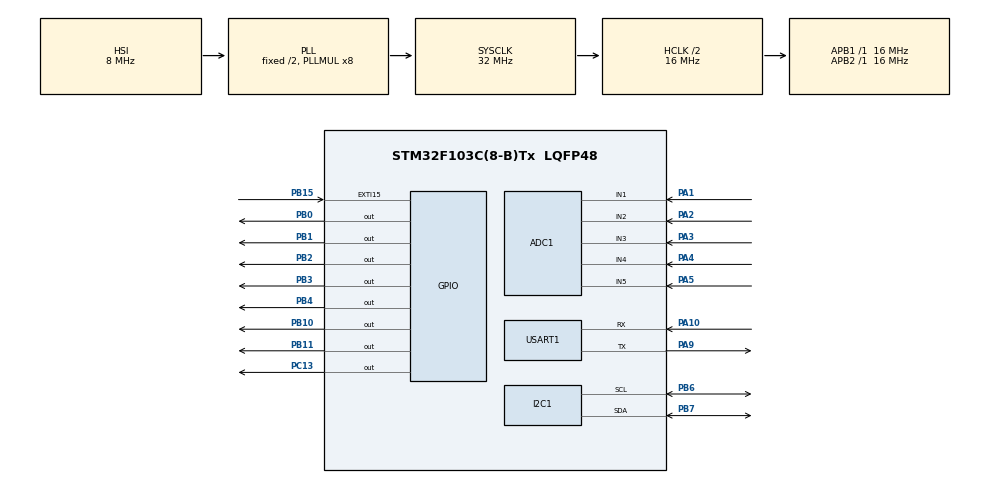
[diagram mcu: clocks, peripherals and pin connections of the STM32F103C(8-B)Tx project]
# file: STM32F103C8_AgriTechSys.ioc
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ADC1.Channel-0\#ChannelRegularConversion=ADC_CHANNEL_2
ADC1.NbrOfConversionFlag=1
ADC1.Rank-0\#ChannelRegularConversion=1
ADC1.SamplingTime-0\#ChannelRegularConversion=ADC_SAMPLETIME_1CYCLE_5
ADC1.master=1
Mcu.Family=STM32F1
Mcu.Name=STM32F103C(8-B)Tx
Mcu.Package=LQFP48
NVIC.EXTI15_10_IRQn=true\:0\:0\:false\:false\:true\:true\:true
NVIC.PriorityGroup=NVIC_PRIORITYGROUP_4
NVIC.TIM1_UP_IRQn=true\:0\:0\:false\:false\:true\:true\:true
NVIC.USART1_IRQn=true\:0\:0\:false\:false\:true\:true\:true
PA1.Signal=ADCx_IN1
PA10.Mode=Asynchronous
PA10.Signal=USART1_RX
PA2.Signal=ADCx_IN2
PA3.Signal=ADCx_IN3
PA4.Signal=ADCx_IN4
PA5.Signal=ADCx_IN5
PA9.Mode=Asynchronous
PA9.Signal=USART1_TX
PB0.Signal=GPIO_Output
PB1.Signal=GPIO_Output
PB10.Signal=GPIO_Output
PB11.Signal=GPIO_Output
PB15.GPIO_PuPd=GPIO_PULLUP
PB15.Signal=GPXTI15
PB2.Signal=GPIO_Output
PB3.Signal=GPIO_Output
PB4.Signal=GPIO_Output
PB6.Mode=I2C
PB6.Signal=I2C1_SCL
PB7.Mode=I2C
PB7.Signal=I2C1_SDA
PC13-TAMPER-RTC.Signal=GPIO_Output
PD0-OSC_IN.Mode=HSE-External-Oscillator
PD0-OSC_IN.Signal=RCC_OSC_IN
PD1-OSC_OUT.Mode=HSE-External-Oscillator
PD1-OSC_OUT.Signal=RCC_OSC_OUT
ProjectManager.HeapSize=0x200
ProjectManager.StackSize=0x400
ProjectManager.TargetToolchain=STM32CubeIDE
RCC.AHBCLKDivider=RCC_SYSCLK_DIV2
RCC.AHBFreq_Value=16000000
RCC.APB1Freq_Value=16000000
RCC.APB1TimFreq_Value=16000000
RCC.APB2Freq_Value=16000000
RCC.APB2TimFreq_Value=16000000
RCC.HCLKFreq_Value=16000000
RCC.PLLMUL=RCC_PLL_MUL8
RCC.SYSCLKFreq_VALUE=32000000
RCC.SYSCLKSource=RCC_SYSCLKSOURCE_PLLCLK
RCC.USBFreq_Value=32000000
SH.ADCx_IN1.0=ADC1_IN1,IN1
SH.ADCx_IN2.0=ADC1_IN2,IN2
SH.ADCx_IN3.0=ADC1_IN3,IN3
SH.ADCx_IN4.0=ADC1_IN4,IN4
SH.ADCx_IN5.0=ADC1_IN5,IN5
TIM1.AutoReloadPreload=TIM_AUTORELOAD_PRELOAD_ENABLE
TIM1.Period=8000
TIM1.Prescaler=4
USART1.VirtualMode=VM_ASYNC
VP_SYS_VS_ND.Mode=No_Debug
VP_TIM1_VS_ClockSourceINT.Mode=Internal
board=custom

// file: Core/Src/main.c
/* USER CODE BEGIN Header */
/**
  ******************************************************************************
  * @file           : main.c
  * @brief          : Main program body
  ******************************************************************************
  * @attention
  *
  * <h2><center>&copy; Copyright (c) 2024 STMicroelectronics.
  * All rights reserved.</center></h2>
  *
  * This software component is licensed by ST under BSD 3-Clause license,
  * the "License"; You may not use this file except in compliance with the
  * License. You may obtain a copy of the License at:
  *                        opensource.org/licenses/BSD-3-Clause
  *
  ******************************************************************************
  */
/* USER CODE END Header */

#include "main.h"
#include "adc.h"
#include "i2c.h"
#include "tim.h"
#include "usart.h"
#include "gpio.h"

/* USER CODE BEGIN Includes */
#include "AgriTechSys.h"
/* USER CODE END Includes */

/* USER CODE BEGIN PV */
volatile uint8_t tickFlage;
volatile RunTimeINstanceType runTimeInstance = {0};
/* USER CODE END PV */

void SystemClock_Config(void);

int main(void)
{

  /* MCU Configuration--------------------------------------------------------*/

  /* Reset of all peripherals, Initializes the Flash interface and the Systick. */
  HAL_Init();

  /* Configure the system clock */
  SystemClock_Config();

  /* Initialize all configured peripherals */
  MX_GPIO_Init();
  MX_TIM1_Init();
  MX_ADC1_Init();
  MX_I2C1_Init();
  MX_USART1_UART_Init();

  /* Infinite loop */
  /* USER CODE BEGIN WHILE */
  while (1)
  {
	  switch(runTimeInstance.CurrState)
	  {
	  case IDEAL_STATE:
	  {
		  if(TRUE == runTimeInstance.startEvent)
		  {
			  /* Start Event is found */
			  HAL_TIM_Base_Start(&htim1);
			  /* set state to run mode */
			  runTimeInstance.CurrState = RUN_STATE;
		  }
	  }
		  break;
	  case RUN_STATE:
	  {
		  /* call diff task using funPtr */
		  if(TRUE == tickFlage)
		  {
			  HAL_GPIO_TogglePin(GPIOC, GPIO_PIN_13);
			  tickFlage = FALSE;
		  }

		  if(FALSE == runTimeInstance.startEvent)
		  {
			  /* Start Event is found */
			  HAL_TIM_Base_Stop_IT(&htim1);
			  /* set state to run mode */
			  runTimeInstance.CurrState = STOP_STATE;
		  }
	  }
		  break;
	  case STOP_STATE:
	  {
		  /* Reset runtime instance */
//		  runTimeInstance = {0};
		  HAL_GPIO_WritePin(GPIOC, GPIO_PIN_13, GPIO_PIN_SET);
		  /* set state to run mode */
		  runTimeInstance.CurrState = IDEAL_STATE;

	  }
		  break;
	  default:
		  break;
	  }
    /* USER CODE END WHILE */

  }
}

void SystemClock_Config(void)
{
  RCC_OscInitTypeDef RCC_OscInitStruct = {0};
  RCC_ClkInitTypeDef RCC_ClkInitStruct = {0};
  RCC_PeriphCLKInitTypeDef PeriphClkInit = {0};

  /** Initializes the CPU, AHB and APB busses clocks
  */
  RCC_OscInitStruct.OscillatorType = RCC_OSCILLATORTYPE_HSI;
  RCC_OscInitStruct.HSIState = RCC_HSI_ON;
  RCC_OscInitStruct.HSICalibrationValue = RCC_HSICALIBRATION_DEFAULT;
  RCC_OscInitStruct.PLL.PLLState = RCC_PLL_ON;
  RCC_OscInitStruct.PLL.PLLSource = RCC_PLLSOURCE_HSI_DIV2;
  RCC_OscInitStruct.PLL.PLLMUL = RCC_PLL_MUL8;
  if (HAL_RCC_OscConfig(&RCC_OscInitStruct) != HAL_OK)
  {
    Error_Handler();
  }
  /** Initializes the CPU, AHB and APB busses clocks
  */
  RCC_ClkInitStruct.ClockType = RCC_CLOCKTYPE_HCLK|RCC_CLOCKTYPE_SYSCLK
                              |RCC_CLOCKTYPE_PCLK1|RCC_CLOCKTYPE_PCLK2;
  RCC_ClkInitStruct.SYSCLKSource = RCC_SYSCLKSOURCE_PLLCLK;
  RCC_ClkInitStruct.AHBCLKDivider = RCC_SYSCLK_DIV2;
  RCC_ClkInitStruct.APB1CLKDivider = RCC_HCLK_DIV1;
  RCC_ClkInitStruct.APB2CLKDivider = RCC_HCLK_DIV1;

  if (HAL_RCC_ClockConfig(&RCC_ClkInitStruct, FLASH_LATENCY_1) != HAL_OK)
  {
    Error_Handler();
  }
  PeriphClkInit.PeriphClockSelection = RCC_PERIPHCLK_ADC;
  PeriphClkInit.AdcClockSelection = RCC_ADCPCLK2_DIV2;
  if (HAL_RCCEx_PeriphCLKConfig(&PeriphClkInit) != HAL_OK)
  {
    Error_Handler();
  }
}

void Error_Handler(void)
{
}

/************************ (C) COPYRIGHT STMicroelectronics *****END OF FILE****/
